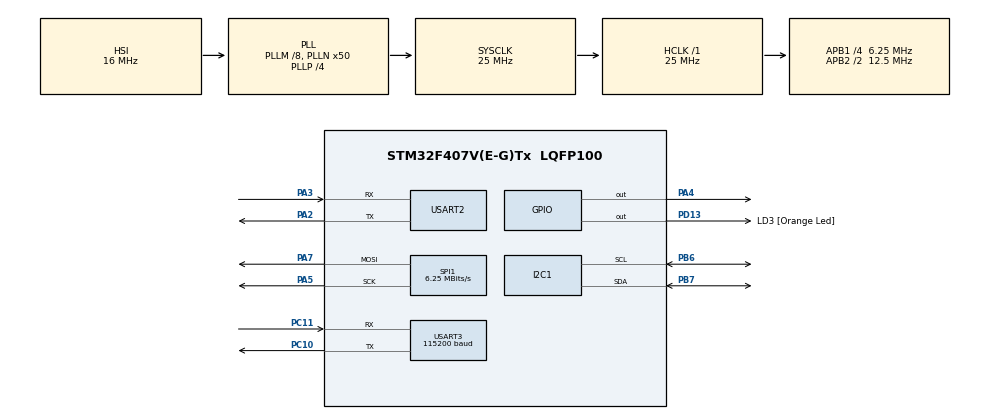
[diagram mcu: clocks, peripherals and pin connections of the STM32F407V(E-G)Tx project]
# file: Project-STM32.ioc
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Mcu.Family=STM32F4
Mcu.Name=STM32F407V(E-G)Tx
Mcu.Package=LQFP100
NVIC.I2C1_ER_IRQn=true\:0\:0\:false\:false\:true\:true\:true
NVIC.I2C1_EV_IRQn=true\:0\:0\:false\:false\:true\:true\:true
NVIC.PriorityGroup=NVIC_PRIORITYGROUP_0
NVIC.SPI1_IRQn=true\:0\:0\:false\:false\:true\:true\:true
NVIC.TIM4_IRQn=true\:0\:0\:false\:false\:true\:true\:true
NVIC.USART2_IRQn=true\:0\:0\:false\:false\:true\:true\:true
NVIC.USART3_IRQn=true\:0\:0\:false\:false\:true\:true\:true
PA2.Mode=Asynchronous
PA2.Signal=USART2_TX
PA3.Mode=Asynchronous
PA3.Signal=USART2_RX
PA4.Signal=GPIO_Output
PA5.Mode=TX_Only_Simplex_Unidirect_Master
PA5.Signal=SPI1_SCK
PA7.Mode=TX_Only_Simplex_Unidirect_Master
PA7.Signal=SPI1_MOSI
PB6.Mode=I2C
PB6.Signal=I2C1_SCL
PB7.Mode=I2C
PB7.Signal=I2C1_SDA
PC10.Mode=Asynchronous
PC10.Signal=USART3_TX
PC11.Mode=Asynchronous
PC11.Signal=USART3_RX
PD13.GPIO_Label=LD3 [Orange Led]
PD13.GPIO_PuPd=GPIO_NOPULL
PD13.GPIO_Speed=GPIO_SPEED_FREQ_LOW
PD13.Signal=GPIO_Output
PD15.Signal=S_TIM4_CH4
ProjectManager.HeapSize=0x200
ProjectManager.StackSize=0x400
ProjectManager.TargetToolchain=STM32CubeIDE
RCC.48MHZClocksFreq_Value=14285714.285714285
RCC.AHBFreq_Value=25000000
RCC.APB1CLKDivider=RCC_HCLK_DIV4
RCC.APB1Freq_Value=6250000
RCC.APB1TimFreq_Value=12500000
RCC.APB2CLKDivider=RCC_HCLK_DIV2
RCC.APB2Freq_Value=12500000
RCC.APB2TimFreq_Value=25000000
RCC.CortexFreq_Value=25000000
RCC.HCLKFreq_Value=25000000
RCC.HSE_VALUE=8000000
RCC.HSI_VALUE=16000000
RCC.LSE_VALUE=32768
RCC.PLLM=8
RCC.PLLN=50
RCC.PLLP=RCC_PLLP_DIV4
RCC.PLLQ=7
RCC.SYSCLKFreq_VALUE=25000000
RCC.SYSCLKSource=RCC_SYSCLKSOURCE_PLLCLK
RCC.VCOOutputFreq_Value=100000000
SH.S_TIM4_CH4.0=TIM4_CH4
SPI1.BaudRatePrescaler=SPI_BAUDRATEPRESCALER_2
SPI1.CalculateBaudRate=6.25 MBits/s
SPI1.DataSize=SPI_DATASIZE_8BIT
SPI1.Direction=SPI_DIRECTION_2LINES
SPI1.Mode=SPI_MODE_MASTER
SPI1.VirtualType=VM_MASTER
TIM4.Period=2199
TIM4.Prescaler=41999
USART2.VirtualMode=VM_ASYNC
USART3.BaudRate=115200
USART3.VirtualMode=VM_ASYNC
VP_TIM4_VS_ClockSourceINT.Mode=Internal
board=STM32F407G-DISC1

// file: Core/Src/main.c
/* USER CODE BEGIN Header */
/**
  ******************************************************************************
  * @file           : main.c
  * @brief          : Main program body
  ******************************************************************************
  * @attention
  *
  * <h2><center>&copy; Copyright (c) 2020 STMicroelectronics.
  * All rights reserved.</center></h2>
  *
  * This software component is licensed by ST under BSD 3-Clause license,
  * the "License"; You may not use this file except in compliance with the
  * License. You may obtain a copy of the License at:
  *                        opensource.org/licenses/BSD-3-Clause
  *
  ******************************************************************************
  */
/* USER CODE END Header */

#include "main.h"

/* USER CODE BEGIN Includes */
#include "BMP280/bmp280.h"
#include "Led.h"
/* USER CODE END Includes */

I2C_HandleTypeDef hi2c1;

SPI_HandleTypeDef hspi1;

TIM_HandleTypeDef htim4;

UART_HandleTypeDef huart2;
UART_HandleTypeDef huart3;

/* USER CODE BEGIN PV */
/* Private variables ---------------------------------------------------------*/

BMP280_HandleTypedef bmp280;

float pressure, temperature, humidity;

uint16_t size;
uint8_t Data[512] = {0};
uint16_t size_r = 1;
uint8_t Data_r[512] = {0};
uint16_t i = 0;
char Data_rx[1] = {0};

/* USER CODE END PV */

void SystemClock_Config(void);
static void MX_GPIO_Init(void);
static void MX_I2C1_Init(void);
static void MX_USART2_UART_Init(void);
static void MX_TIM4_Init(void);
static void MX_USART3_UART_Init(void);
static void MX_SPI1_Init(void);
/* USER CODE BEGIN PFP */
/* Private function prototypes -----------------------------------------------*/

/* USER CODE END PFP */

/* USER CODE BEGIN 0 */
void HAL_UART_RxCpltCallback(UART_HandleTypeDef*huart){
	if(huart->Instance == USART2){
		Data_r[i] = Data_rx[0];
		i++;
		HAL_UART_Receive_IT(&huart2, Data_rx, size_r);
	}
}

void ESP_Init(){

	size = sprintf(Data, "AT\r\n");
		HAL_UART_Transmit_IT(&huart2, Data, size);
		HAL_Delay(500);
		size = sprintf(Data, Data_r);
		HAL_UART_Transmit_IT(&huart3, Data, size);
		i = 0;
		for(int k = 0; k < 256; k++) Data_r[k] = 0;
		HAL_Delay(500);

		size = sprintf(Data, "AT+CWMODE?\r\n");
		HAL_UART_Transmit_IT(&huart2, Data, size);
		HAL_Delay(500);
		size = sprintf(Data, Data_r);
		HAL_UART_Transmit_IT(&huart3, Data, size);
		i = 0;
		for(int k = 0; k < 256; k++) Data_r[k] = 0;
		HAL_Delay(500);

		size = sprintf(Data, "AT+CWJAP?\r\n");
		HAL_UART_Transmit_IT(&huart2, Data, size);
		HAL_Delay(500);
		size = sprintf(Data, Data_r);
		HAL_UART_Transmit_IT(&huart3, Data, size);
		i = 0;
		for(int k = 0; k < 256; k++) Data_r[k] = 0;
		HAL_Delay(500);

		size = sprintf(Data, "AT+CWSAP_CUR=\"STM\",\"testtymczasowy\",1,4\r\n");
			HAL_UART_Transmit_IT(&huart2, Data, size);
			HAL_Delay(500);
			size = sprintf(Data, Data_r);
			HAL_UART_Transmit_IT(&huart3, Data, size);
			i = 0;
			for(int k = 0; k < 256; k++) Data_r[k] = 0;
			HAL_Delay(500);

		size = sprintf(Data, "AT+CIPMODE=0\r\n");
			HAL_UART_Transmit_IT(&huart2, Data, size);
			HAL_Delay(500);
			size = sprintf(Data, Data_r);
			HAL_UART_Transmit_IT(&huart3, Data, size);
			i = 0;
			for(int k = 0; k < 256; k++) Data_r[k] = 0;
			HAL_Delay(500);

			size = sprintf(Data, "AT+CIPMUX=1\r\n");
				HAL_UART_Transmit_IT(&huart2, Data, size);
				HAL_Delay(500);
				size = sprintf(Data, Data_r);
				HAL_UART_Transmit_IT(&huart3, Data, size);
				i = 0;
				for(int k = 0; k < 256; k++) Data_r[k] = 0;
				HAL_Delay(500);

			size = sprintf(Data, "AT+CIPSERVER=1,8080\r\n");
				HAL_UART_Transmit_IT(&huart2, Data, size);
				HAL_Delay(500);
				size = sprintf(Data, Data_r);
				HAL_UART_Transmit_IT(&huart3, Data, size);
				i = 0;
				for(int k = 0; k < 256; k++) Data_r[k] = 0;
				HAL_Delay(500);
}

void ESP_SendData()
{
	bmp280_read_float(&bmp280, &temperature, &pressure, &humidity);

			size = sprintf((char *)Data,"Temperature: %.2f C \n\r",temperature);
						HAL_UART_Transmit_IT(&huart3, Data, size);
						HAL_Delay(10);
			size = sprintf((char *)Data,"Pressure: %.2f Pa \n\r",pressure);
						HAL_UART_Transmit_IT(&huart3, Data, size);
						HAL_Delay(10);
			size = sprintf((char *)Data,"Humidity: %.2f\n\r\n\r", humidity);
						HAL_UART_Transmit_IT(&huart3, Data, size);
						HAL_Delay(10);

	size = sprintf(Data, "AT+CIPSTART=0,\"TCP\",\"164.132.104.58\",8080\r\n");
				HAL_UART_Transmit_IT(&huart2, Data, size);
				HAL_Delay(200);
				size = sprintf(Data, Data_r);
				HAL_UART_Transmit_IT(&huart3, Data, size);
				i = 0;
				for(int k = 0; k < 256; k++) Data_r[k] = 0;
				HAL_Delay(200);

				char aszJsonData[150] = {0};
				sprintf(aszJsonData,"{\"temperature\":\"%.2f\",\"pressure\":\"%.2f\",\"humidity\":\"%.2f\"}",temperature,pressure,humidity);
				char aszJsonRequest[250] = { 0 };
				char aszServiceMethod[] = "/STM/putStmData";
				char aszRequest[150] = { 0 };
				char aszHostIp[30] = "164.132.104.58";
				char aszPort[] = "8080";
				uint16_t size_temp = 0;
				sprintf(aszRequest,"http://%s:%s%s HTTP/1.1",aszHostIp,aszPort,aszServiceMethod);
				strcat(aszHostIp, ":");
				strcat(aszHostIp, aszPort);
				size_temp = sprintf(aszJsonRequest, "PUT %s\r\nHost: %s\r\nContent-Type: application/json\r\nContent-Length: %d\r\n\r\n%s\r\n",
						aszRequest, aszHostIp, strlen(aszJsonData), aszJsonData);

	size = sprintf(Data, "AT+CIPSEND=0,%d\r\n",size_temp);
				HAL_UART_Transmit_IT(&huart2, Data, size);
				HAL_Delay(200);

				HAL_UART_Transmit_IT(&huart2, aszJsonRequest, size_temp);
				HAL_Delay(200);

				size = sprintf(Data, Data_r);
				HAL_UART_Transmit_IT(&huart3, Data, size);
				i = 0;
				for(int k = 0; k < 256; k++) Data_r[k] = 0;
				HAL_Delay(200);

	size = sprintf(Data, "AT+CIPCLOSE=0\r\n");
				HAL_UART_Transmit_IT(&huart2, Data, size);
				HAL_Delay(200);
				size = sprintf(Data, Data_r);
				HAL_UART_Transmit_IT(&huart3, Data, size);
				i = 0;
				for(int k = 0; k < 256; k++) Data_r[k] = 0;
				HAL_Delay(200);

					open();

					size = sprintf(Data,"%.2f 'C %.1f hPa %.2f %%",temperature,pressure,humidity);
					showMessage(Data,size);
					HAL_Delay(30*(size+1));
					close();
}
/* USER CODE END 0 */

int main(void)
{

  /* MCU Configuration--------------------------------------------------------*/

  /* Reset of all peripherals, Initializes the Flash interface and the Systick. */
  HAL_Init();

  /* Configure the system clock */
  SystemClock_Config();

  /* Initialize all configured peripherals */
  MX_GPIO_Init();
  MX_I2C1_Init();
  MX_USART2_UART_Init();
  MX_TIM4_Init();
  MX_USART3_UART_Init();
  MX_SPI1_Init();
  /* USER CODE BEGIN 2 */

	bmp280_init_default_params(&bmp280.params);
	bmp280.addr = BMP280_I2C_ADDRESS_0;
	bmp280.i2c = &hi2c1;

	while (!bmp280_init(&bmp280, &bmp280.params)) {
		size = sprintf((char *)Data, "BMP280 initialization failed\n\r");
		HAL_UART_Transmit_IT(&huart3, Data, size);
		HAL_Delay(2000);
	}
	bool bme280p = bmp280.id == BME280_CHIP_ID;
	size = sprintf((char *)Data, "BMP280: found %s\n\r", bme280p ? "BME280" : "BMP280");
	HAL_UART_Receive_IT(&huart2, Data_rx, size_r);
  /* USER CODE END 2 */

  /* Infinite loop */
  /* USER CODE BEGIN WHILE */
	ESP_Init();
	max_init(&hspi1);
	open();
	orientate(90,0);
	close();

	while (1) {

    /* USER CODE END WHILE */

    /* USER CODE BEGIN 3 */
		/*HAL_Delay(100);
		while (!bmp280_read_float(&bmp280, &temperature, &pressure, &humidity)) {
			size = sprintf((char *)Data,
					"Temperature/pressure reading failed\n\r");
			HAL_UART_Transmit_IT(&huart3, Data, size);
			HAL_Delay(2000);
		}
		size = sprintf((char *)Data,"Temperature: %.2f C \n\r",temperature);
		HAL_UART_Transmit_IT(&huart3, Data, size);
		HAL_Delay(1000);
		size = sprintf((char *)Data,"Pressure: %.2f Pa \n\r",pressure);
				HAL_UART_Transmit_IT(&huart3, Data, size);
		HAL_Delay(1000);
		if (bme280p) {
			size = sprintf((char *)Data,"Humidity: %.2f\n\r\n\r", humidity);
			HAL_UART_Transmit_IT(&huart3, Data, size);
		}
		else {
			size = sprintf((char *)Data, "\n\r");
			HAL_UART_Transmit_IT(&huart3, Data, size);
		}*/
		ESP_SendData();
		HAL_Delay(2000);

	}
  /* USER CODE END 3 */
}

void SystemClock_Config(void)
{
  RCC_OscInitTypeDef RCC_OscInitStruct = {0};
  RCC_ClkInitTypeDef RCC_ClkInitStruct = {0};

  /** Configure the main internal regulator output voltage
  */
  __HAL_RCC_PWR_CLK_ENABLE();
  __HAL_PWR_VOLTAGESCALING_CONFIG(PWR_REGULATOR_VOLTAGE_SCALE1);
  /** Initializes the CPU, AHB and APB busses clocks
  */
  RCC_OscInitStruct.OscillatorType = RCC_OSCILLATORTYPE_HSI;
  RCC_OscInitStruct.HSIState = RCC_HSI_ON;
  RCC_OscInitStruct.HSICalibrationValue = RCC_HSICALIBRATION_DEFAULT;
  RCC_OscInitStruct.PLL.PLLState = RCC_PLL_ON;
  RCC_OscInitStruct.PLL.PLLSource = RCC_PLLSOURCE_HSI;
  RCC_OscInitStruct.PLL.PLLM = 8;
  RCC_OscInitStruct.PLL.PLLN = 50;
  RCC_OscInitStruct.PLL.PLLP = RCC_PLLP_DIV4;
  RCC_OscInitStruct.PLL.PLLQ = 7;
  if (HAL_RCC_OscConfig(&RCC_OscInitStruct) != HAL_OK)
  {
    Error_Handler();
  }
  /** Initializes the CPU, AHB and APB busses clocks
  */
  RCC_ClkInitStruct.ClockType = RCC_CLOCKTYPE_HCLK|RCC_CLOCKTYPE_SYSCLK
                              |RCC_CLOCKTYPE_PCLK1|RCC_CLOCKTYPE_PCLK2;
  RCC_ClkInitStruct.SYSCLKSource = RCC_SYSCLKSOURCE_PLLCLK;
  RCC_ClkInitStruct.AHBCLKDivider = RCC_SYSCLK_DIV1;
  RCC_ClkInitStruct.APB1CLKDivider = RCC_HCLK_DIV4;
  RCC_ClkInitStruct.APB2CLKDivider = RCC_HCLK_DIV2;

  if (HAL_RCC_ClockConfig(&RCC_ClkInitStruct, FLASH_LATENCY_0) != HAL_OK)
  {
    Error_Handler();
  }
}

static void MX_I2C1_Init(void)
{

  hi2c1.Instance = I2C1;
  hi2c1.Init.ClockSpeed = 100000;
  hi2c1.Init.DutyCycle = I2C_DUTYCYCLE_2;
  hi2c1.Init.OwnAddress1 = 0;
  hi2c1.Init.AddressingMode = I2C_ADDRESSINGMODE_7BIT;
  hi2c1.Init.DualAddressMode = I2C_DUALADDRESS_DISABLE;
  hi2c1.Init.OwnAddress2 = 0;
  hi2c1.Init.GeneralCallMode = I2C_GENERALCALL_DISABLE;
  hi2c1.Init.NoStretchMode = I2C_NOSTRETCH_DISABLE;
  if (HAL_I2C_Init(&hi2c1) != HAL_OK)
  {
    Error_Handler();
  }

}

static void MX_SPI1_Init(void)
{

  /* SPI1 parameter configuration*/
  hspi1.Instance = SPI1;
  hspi1.Init.Mode = SPI_MODE_MASTER;
  hspi1.Init.Direction = SPI_DIRECTION_2LINES;
  hspi1.Init.DataSize = SPI_DATASIZE_8BIT;
  hspi1.Init.CLKPolarity = SPI_POLARITY_LOW;
  hspi1.Init.CLKPhase = SPI_PHASE_1EDGE;
  hspi1.Init.NSS = SPI_NSS_SOFT;
  hspi1.Init.BaudRatePrescaler = SPI_BAUDRATEPRESCALER_2;
  hspi1.Init.FirstBit = SPI_FIRSTBIT_MSB;
  hspi1.Init.TIMode = SPI_TIMODE_DISABLE;
  hspi1.Init.CRCCalculation = SPI_CRCCALCULATION_DISABLE;
  hspi1.Init.CRCPolynomial = 10;
  if (HAL_SPI_Init(&hspi1) != HAL_OK)
  {
    Error_Handler();
  }

}

static void MX_TIM4_Init(void)
{

  TIM_ClockConfigTypeDef sClockSourceConfig = {0};
  TIM_MasterConfigTypeDef sMasterConfig = {0};

  htim4.Instance = TIM4;
  htim4.Init.Prescaler = 41999;
  htim4.Init.CounterMode = TIM_COUNTERMODE_UP;
  htim4.Init.Period = 2199;
  htim4.Init.ClockDivision = TIM_CLOCKDIVISION_DIV1;
  htim4.Init.AutoReloadPreload = TIM_AUTORELOAD_PRELOAD_DISABLE;
  if (HAL_TIM_Base_Init(&htim4) != HAL_OK)
  {
    Error_Handler();
  }
  sClockSourceConfig.ClockSource = TIM_CLOCKSOURCE_INTERNAL;
  if (HAL_TIM_ConfigClockSource(&htim4, &sClockSourceConfig) != HAL_OK)
  {
    Error_Handler();
  }
  sMasterConfig.MasterOutputTrigger = TIM_TRGO_RESET;
  sMasterConfig.MasterSlaveMode = TIM_MASTERSLAVEMODE_DISABLE;
  if (HAL_TIMEx_MasterConfigSynchronization(&htim4, &sMasterConfig) != HAL_OK)
  {
    Error_Handler();
  }

}

static void MX_USART2_UART_Init(void)
{

  huart2.Instance = USART2;
  huart2.Init.BaudRate = 115200;
  huart2.Init.WordLength = UART_WORDLENGTH_8B;
  huart2.Init.StopBits = UART_STOPBITS_1;
  huart2.Init.Parity = UART_PARITY_NONE;
  huart2.Init.Mode = UART_MODE_TX_RX;
  huart2.Init.HwFlowCtl = UART_HWCONTROL_NONE;
  huart2.Init.OverSampling = UART_OVERSAMPLING_16;
  if (HAL_UART_Init(&huart2) != HAL_OK)
  {
    Error_Handler();
  }

}

static void MX_USART3_UART_Init(void)
{

  huart3.Instance = USART3;
  huart3.Init.BaudRate = 115200;
  huart3.Init.WordLength = UART_WORDLENGTH_8B;
  huart3.Init.StopBits = UART_STOPBITS_1;
  huart3.Init.Parity = UART_PARITY_NONE;
  huart3.Init.Mode = UART_MODE_TX_RX;
  huart3.Init.HwFlowCtl = UART_HWCONTROL_NONE;
  huart3.Init.OverSampling = UART_OVERSAMPLING_16;
  if (HAL_UART_Init(&huart3) != HAL_OK)
  {
    Error_Handler();
  }

}

static void MX_GPIO_Init(void)
{
  GPIO_InitTypeDef GPIO_InitStruct = {0};

  /* GPIO Ports Clock Enable */
  __HAL_RCC_GPIOA_CLK_ENABLE();
  __HAL_RCC_GPIOD_CLK_ENABLE();
  __HAL_RCC_GPIOC_CLK_ENABLE();
  __HAL_RCC_GPIOB_CLK_ENABLE();

  /*Configure GPIO pin Output Level */
  HAL_GPIO_WritePin(GPIOA, GPIO_PIN_4, GPIO_PIN_RESET);

  /*Configure GPIO pin Output Level */
  HAL_GPIO_WritePin(LD3_GPIO_Port, LD3_Pin, GPIO_PIN_RESET);

  /*Configure GPIO pin : PA4 */
  GPIO_InitStruct.Pin = GPIO_PIN_4;
  GPIO_InitStruct.Mode = GPIO_MODE_OUTPUT_PP;
  GPIO_InitStruct.Pull = GPIO_NOPULL;
  GPIO_InitStruct.Speed = GPIO_SPEED_FREQ_LOW;
  HAL_GPIO_Init(GPIOA, &GPIO_InitStruct);

  /*Configure GPIO pin : LD3_Pin */
  GPIO_InitStruct.Pin = LD3_Pin;
  GPIO_InitStruct.Mode = GPIO_MODE_OUTPUT_PP;
  GPIO_InitStruct.Pull = GPIO_NOPULL;
  GPIO_InitStruct.Speed = GPIO_SPEED_FREQ_LOW;
  HAL_GPIO_Init(LD3_GPIO_Port, &GPIO_InitStruct);

}

void Error_Handler(void)
{
	while (1) {
	}
}

/************************ (C) COPYRIGHT STMicroelectronics *****END OF FILE****/
